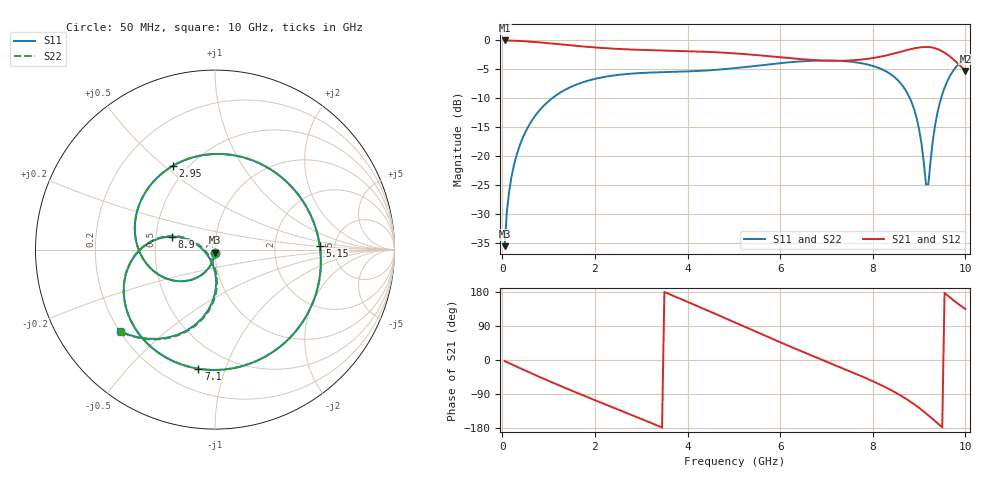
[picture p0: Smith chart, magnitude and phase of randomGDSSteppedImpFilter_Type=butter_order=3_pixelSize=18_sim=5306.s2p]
! freq	dB(S11)	phase(S11)	dB(S12)	phase(S12)
!  dB(S21)	phase(S21)	dB(S22)	phase(S22)
!S-par simulation data
#  GHz  S  DB  R 50
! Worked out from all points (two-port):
!   200 points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, 50 MHz to 10 GHz, reference 50 ohm
!   highest |S21| = -0.01 dB at 50 MHz (marker M1); lowest = -5.3 dB at 10 GHz (marker M2)
!   |S21| within 3 dB of the highest: start of sweep to 6.14 GHz; 8.028 GHz to 9.702 GHz (1.674 GHz wide, 18.9 % of centre)
!   lowest |S11| = -35.5 dB at 50 MHz (marker M3), VSWR 1.03, Z = 49.9 - j1.68 ohm
!   |S11| at or under -10 dB: start of sweep to 1.073 GHz; 8.803 GHz to 9.475 GHz (671.8 MHz wide, 7.35 % of centre)
!   |S22| runs from -35.5 to -3.1 dB; largest |S21 - S12| = 0
!   S11 on the Smith chart (normalised r, x): 50 MHz: 1.00, -0.03; 2.95 GHz: 0.42, +0.54; 5.15 GHz: 3.79, +0.26; 7.1 GHz: 0.34, -0.81; 8.9 GHz: 0.61, +0.09; 10 GHz: 0.20, -0.36
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0.05  -35.49 -92.6  -0.01 -2.9  -0.01 -2.9  -35.49 -92.5
0.2  -23.48 -101.6  -0.04 -11.3  -0.04 -11.3  -23.48 -101.6
0.5  -15.79 -118.5  -0.16 -28.0  -0.16 -28.0  -15.79 -118.5
1.1  -9.83 -151.0  -0.56 -60.4  -0.56 -60.4  -9.83 -151.0
1.75  -7.19 175.8  -1.05 -93.6  -1.05 -93.6  -7.19 175.8
2.95  -5.64 116.6  -1.62 -152.9  -1.62 -152.9  -5.64 116.5
3.4  -5.49 94.0  -1.72 -175.5  -1.72 -175.5  -5.49 94.0
4.15  -5.30 55.3  -1.89 145.6  -1.89 145.6  -5.30 55.3
5.05  -4.76 7.6  -2.25 97.5  -2.25 97.5  -4.76 7.5
5.15  -4.67 2.2  -2.30 92.1  -2.30 92.1  -4.67 2.1
5.95  -3.96 -40.0  -2.86 49.4  -2.86 49.4  -3.96 -40.1
6.7  -3.51 -78.2  -3.37 10.8  -3.37 10.8  -3.51 -78.3
7.1  -3.48 -98.0  -3.51 -9.3  -3.51 -9.3  -3.48 -98.1
8.35  -5.64 -163.1  -2.48 -76.7  -2.48 -76.7  -5.64 -163.4
8.9  -12.05 163.1  -1.36 -117.3  -1.36 -117.3  -12.08 162.2
9.05  -17.67 160.9  -1.17 -131.0  -1.17 -131.0  -17.80 159.0
9.15  -24.82 -167.8  -1.13 -140.8  -1.13 -140.8  -25.52 -170.0
9.2  -24.81 -121.0  -1.14 -145.9  -1.14 -145.9  -25.50 -118.5
9.3  -17.10 -88.7  -1.26 -156.4  -1.26 -156.4  -17.21 -86.6
9.45  -10.68 -92.9  -1.68 -172.4  -1.68 -172.4  -10.70 -91.8
9.75  -5.09 -118.3  -3.34 156.9  -3.34 156.9  -5.09 -117.7
10  -3.14 -139.2  -5.27 134.5  -5.27 134.5  -3.14 -138.8
